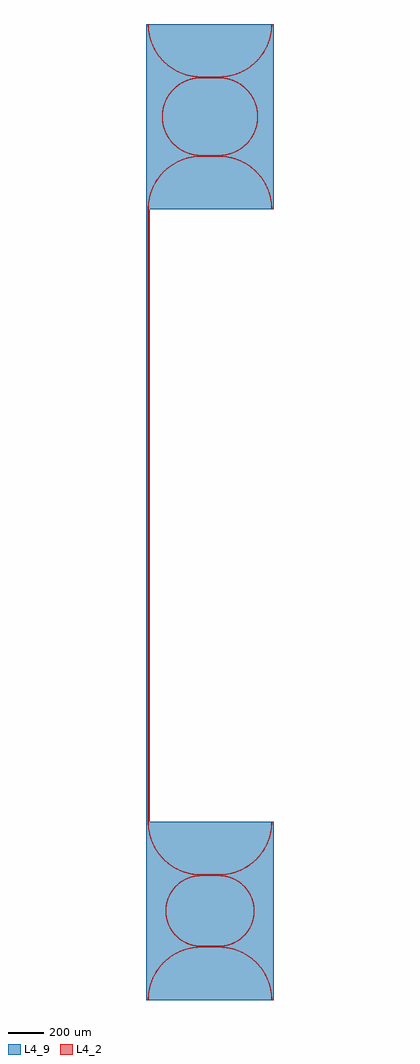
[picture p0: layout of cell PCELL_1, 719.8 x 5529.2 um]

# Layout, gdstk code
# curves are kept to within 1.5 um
from math import pi, radians
import gdstk
lib = gdstk.Library(unit=1e-6, precision=5e-09)
def R(c, l, rs):  # rectangles x0, y0, x1, y1
    for r in rs: c.add(gdstk.rectangle(r[:2], r[2:], *l))
def P(c, l, *ps):  # polygons
    for p in ps: c.add(gdstk.Polygon(p, *l))
L4_2 = (4, 2)
L4_9 = (4, 9)

my_rectsymm180dropring1_ = lib.new_cell('my_rectsymm180dropring1_0_coupler_1_wg1a')
P(my_rectsymm180dropring1_, L4_2, [(-348.1,-302.3),(-347.69,-286.7),(-346.465,-271.14),(-344.43,-255.665),(-341.585,-240.32),(-337.94,-225.145),(-333.51,-210.18),(-328.3,-195.47),(-322.33,-181.05),(-315.61,-166.965),(-308.16,-153.25),(-300.01,-139.945),(-291.17,-127.08),(-281.665,-114.7),(-271.53,-102.83),(-260.79,-91.51),(-245.57,-77.32),(-233.53,-67.395),(-220.985,-58.11),(-207.97,-49.495),(-194.52,-41.575),(-180.68,-34.37),(-166.475,-27.9),(-151.955,-22.18),(-137.155,-17.225),(-111.98,-10.715),(-86.33,-6.42),(-70.795,-4.925),(-55.205,-4.245),(0,-4.2),(0,-0.4),(-55.27,-0.445),(-76.31,-1.55),(-92.015,-3.34),(-107.605,-5.945),(-123.035,-9.37),(-138.265,-13.59),(-153.255,-18.605),(-167.96,-24.4),(-182.345,-30.955),(-196.365,-38.25),(-209.985,-46.275),(-223.165,-55),(-235.87,-64.4),(-248.065,-74.455),(-259.715,-85.13),(-270.795,-96.405),(-281.27,-108.24),(-291.11,-120.61),(-303.195,-137.875),(-311.455,-151.35),(-318.995,-165.24),(-325.8,-179.505),(-331.85,-194.11),(-338.71,-214.035),(-344.16,-234.385),(-347.315,-249.875),(-350.75,-275.99),(-351.855,-297.03),(-351.9,-302.3)])
R(my_rectsymm180dropring1_, L4_9, [(-359.9,-302.3,-50,7.6)])
P(my_rectsymm180dropring1_, L4_9, [(-340.1,-302.3),(-338.51,-271.975),(-333.76,-241.985),(-325.9,-212.655),(-315.02,-184.305),(-301.235,-157.25),(-284.695,-131.785),(-265.585,-108.185),(-244.115,-86.715),(-203.73,-56.28),(-153.96,-31.47),(-120.18,-20.82),(-85.355,-14.365),(0,-12.2),(0,7.6),(-82.395,5.905),(-140.605,-5.94),(-171.09,-17.035),(-200.245,-31.255),(-232.155,-51.585),(-257.365,-72),(-283.885,-98.985),(-306.92,-129.005),(-326.125,-161.61),(-341.21,-196.31),(-355.19,-248.485),(-359.9,-302.3)])

c_my_rectsymm180dropring1_ = lib.new_cell('my_rectsymm180dropring1_0_coupler_1_wg1b')
P(c_my_rectsymm180dropring1_, L4_2, [(0,-4.2),(55.145,-4.245),(75.695,-5.31),(101.2,-8.63),(116.335,-11.675),(131.29,-15.495),(146.025,-20.09),(165.265,-27.385),(179.34,-33.72),(193.07,-40.775),(206.415,-48.53),(219.34,-56.97),(231.81,-66.065),(243.795,-75.79),(255.26,-86.125),(266.175,-97.04),(276.51,-108.505),(286.235,-120.49),(295.33,-132.96),(303.77,-145.885),(311.525,-159.23),(318.58,-172.96),(328.73,-196.59),(333.825,-211.16),(338.165,-225.975),(342.74,-246.035),(345.925,-266.37),(347.39,-281.735),(348.1,-302.3),(351.9,-302.3),(351.495,-286.675),(349.7,-265.91),(347.415,-250.445),(344.33,-235.12),(340.46,-219.975),(335.81,-205.05),(330.39,-190.39),(324.225,-176.025),(314.86,-157.405),(307.005,-143.89),(298.46,-130.8),(289.25,-118.17),(279.395,-106.035),(268.93,-94.425),(257.875,-83.37),(246.265,-72.905),(234.13,-63.05),(221.5,-53.84),(208.41,-45.295),(194.895,-37.44),(180.99,-30.295),(166.735,-23.88),(147.25,-16.49),(132.325,-11.84),(117.18,-7.97),(101.855,-4.885),(86.39,-2.6),(65.625,-0.805),(0,-0.4)])
R(c_my_rectsymm180dropring1_, L4_9, [(50,-302.3,359.9,7.6)])
P(c_my_rectsymm180dropring1_, L4_9, [(0,-12.2),(70.015,-12.89),(124.275,-21.87),(152.87,-31.05),(180.36,-43.14),(206.455,-58.005),(230.875,-75.49),(270.43,-113.705),(302.065,-158.7),(317.535,-190.13),(330.43,-228.025),(337.34,-262.365),(340.1,-302.3),(359.9,-302.3),(358.24,-270.26),(352.13,-233.34),(341.615,-197.425),(329.21,-167.84),(313.815,-139.695),(292.29,-109.08),(271.015,-85.065),(243.22,-60.01),(212.605,-38.485),(179.62,-20.81),(144.745,-7.24),(108.49,2.03),(66.04,7.185),(0,7.6)])

c_my_rectsymm180dropring1__ = lib.new_cell('my_rectsymm180dropring1_0_coupler_1')
c_my_rectsymm180dropring1__.add(gdstk.Reference(my_rectsymm180dropring1_, (0,0)))
c_my_rectsymm180dropring1__.add(gdstk.Reference(c_my_rectsymm180dropring1_, (0,0)))

c_my_rectsymm180dropring1___ = lib.new_cell('my_rectsymm180dropring1_0_coupler_2_wg1a')
P(c_my_rectsymm180dropring1___, L4_2, [(-348.1,-302.3),(-347.69,-286.7),(-346.465,-271.14),(-344.43,-255.665),(-341.585,-240.32),(-337.94,-225.145),(-333.51,-210.18),(-328.3,-195.47),(-322.33,-181.05),(-315.61,-166.965),(-308.16,-153.25),(-300.01,-139.945),(-291.17,-127.08),(-281.665,-114.7),(-271.53,-102.83),(-260.79,-91.51),(-245.57,-77.32),(-233.53,-67.395),(-220.985,-58.11),(-207.97,-49.495),(-194.52,-41.575),(-180.68,-34.37),(-166.475,-27.9),(-151.955,-22.18),(-137.155,-17.225),(-111.98,-10.715),(-86.33,-6.42),(-70.795,-4.925),(-55.205,-4.245),(0,-4.2),(0,-0.4),(-55.27,-0.445),(-76.31,-1.55),(-92.015,-3.34),(-107.605,-5.945),(-123.035,-9.37),(-138.265,-13.59),(-153.255,-18.605),(-167.96,-24.4),(-182.345,-30.955),(-196.365,-38.25),(-209.985,-46.275),(-223.165,-55),(-235.87,-64.4),(-248.065,-74.455),(-259.715,-85.13),(-270.795,-96.405),(-281.27,-108.24),(-291.11,-120.61),(-303.195,-137.875),(-311.455,-151.35),(-318.995,-165.24),(-325.8,-179.505),(-331.85,-194.11),(-338.71,-214.035),(-344.16,-234.385),(-347.315,-249.875),(-350.75,-275.99),(-351.855,-297.03),(-351.9,-302.3)])
R(c_my_rectsymm180dropring1___, L4_9, [(-359.9,-302.3,-50,7.6)])
P(c_my_rectsymm180dropring1___, L4_9, [(-340.1,-302.3),(-338.51,-271.975),(-333.76,-241.985),(-325.9,-212.655),(-315.02,-184.305),(-301.235,-157.25),(-284.695,-131.785),(-265.585,-108.185),(-244.115,-86.715),(-203.73,-56.28),(-153.96,-31.47),(-120.18,-20.82),(-85.355,-14.365),(0,-12.2),(0,7.6),(-82.395,5.905),(-140.605,-5.94),(-171.09,-17.035),(-200.245,-31.255),(-232.155,-51.585),(-257.365,-72),(-283.885,-98.985),(-306.92,-129.005),(-326.125,-161.61),(-341.21,-196.31),(-355.19,-248.485),(-359.9,-302.3)])

c_my_rectsymm180dropring1____ = lib.new_cell('my_rectsymm180dropring1_0_coupler_2_wg1b')
P(c_my_rectsymm180dropring1____, L4_2, [(0,-4.2),(55.145,-4.245),(75.695,-5.31),(101.2,-8.63),(116.335,-11.675),(131.29,-15.495),(146.025,-20.09),(165.265,-27.385),(179.34,-33.72),(193.07,-40.775),(206.415,-48.53),(219.34,-56.97),(231.81,-66.065),(243.795,-75.79),(255.26,-86.125),(266.175,-97.04),(276.51,-108.505),(286.235,-120.49),(295.33,-132.96),(303.77,-145.885),(311.525,-159.23),(318.58,-172.96),(328.73,-196.59),(333.825,-211.16),(338.165,-225.975),(342.74,-246.035),(345.925,-266.37),(347.39,-281.735),(348.1,-302.3),(351.9,-302.3),(351.495,-286.675),(349.7,-265.91),(347.415,-250.445),(344.33,-235.12),(340.46,-219.975),(335.81,-205.05),(330.39,-190.39),(324.225,-176.025),(314.86,-157.405),(307.005,-143.89),(298.46,-130.8),(289.25,-118.17),(279.395,-106.035),(268.93,-94.425),(257.875,-83.37),(246.265,-72.905),(234.13,-63.05),(221.5,-53.84),(208.41,-45.295),(194.895,-37.44),(180.99,-30.295),(166.735,-23.88),(147.25,-16.49),(132.325,-11.84),(117.18,-7.97),(101.855,-4.885),(86.39,-2.6),(65.625,-0.805),(0,-0.4)])
R(c_my_rectsymm180dropring1____, L4_9, [(50,-302.3,359.9,7.6)])
P(c_my_rectsymm180dropring1____, L4_9, [(0,-12.2),(70.015,-12.89),(124.275,-21.87),(152.87,-31.05),(180.36,-43.14),(206.455,-58.005),(230.875,-75.49),(270.43,-113.705),(302.065,-158.7),(317.535,-190.13),(330.43,-228.025),(337.34,-262.365),(340.1,-302.3),(359.9,-302.3),(358.24,-270.26),(352.13,-233.34),(341.615,-197.425),(329.21,-167.84),(313.815,-139.695),(292.29,-109.08),(271.015,-85.065),(243.22,-60.01),(212.605,-38.485),(179.62,-20.81),(144.745,-7.24),(108.49,2.03),(66.04,7.185),(0,7.6)])

c_my_rectsymm180dropring1_____ = lib.new_cell('my_rectsymm180dropring1_0_coupler_2')
c_my_rectsymm180dropring1_____.add(gdstk.Reference(c_my_rectsymm180dropring1___, (0,0)))
c_my_rectsymm180dropring1_____.add(gdstk.Reference(c_my_rectsymm180dropring1____, (0,0)))

c_my_rectsymm180dropring1______ = lib.new_cell('my_rectsymm180dropring1_0_ring')
P(c_my_rectsymm180dropring1______, L4_2, [(0,-201.9),(60.45,-201.63),(77.79,-199.98),(98.32,-196.035),(121.595,-188.78),(140.73,-180.365),(158.89,-170.02),(175.885,-157.85),(191.525,-143.99),(207.85,-125.885),(221.875,-105.94),(231.905,-87.6),(241.14,-65.035),(246.84,-44.925),(250.82,-20.875),(251.9,0),(248.1,0),(247.63,-13.665),(246.215,-27.27),(243.865,-40.74),(240.595,-54.02),(233.985,-73.435),(226.97,-89.02),(216.82,-106.84),(204.88,-123.515),(191.28,-138.865),(173.515,-154.88),(156.84,-166.82),(139.02,-176.97),(120.245,-185.225),(100.72,-191.495),(80.65,-195.715),(63.665,-197.63),(0,-198.1)])
R(c_my_rectsymm180dropring1______, L4_9, [(50,-209.9,259.9,0)])
P(c_my_rectsymm180dropring1______, L4_9, [(0,-209.9),(64.48,-209.4),(100.23,-203.8),(144.325,-187.515),(180.87,-164.105),(214.105,-130.87),(239.115,-91.07),(254.64,-46.705),(259.9,0),(240.1,0),(235.335,-42.3),(221.275,-82.48),(198.625,-118.525),(168.525,-148.625),(132.48,-171.275),(95.495,-184.575),(59.84,-189.845),(0,-190.1)])

c_my_rectsymm180dropring1_______ = lib.new_cell('my_rectsymm180dropring1_0')
R(c_my_rectsymm180dropring1_______, L4_9, [(-359.9,-504.6,359.9,504.6)])
c_my_rectsymm180dropring1_______.add(gdstk.Reference(c_my_rectsymm180dropring1__, (0,-202.3)))
c_my_rectsymm180dropring1_______.add(gdstk.Reference(c_my_rectsymm180dropring1_____, (0,202.3), rotation=pi))
c_my_rectsymm180dropring1_______.add(gdstk.Reference(c_my_rectsymm180dropring1______, (0,0)))
c_my_rectsymm180dropring1_______.add(gdstk.Reference(c_my_rectsymm180dropring1______, (0,0), x_reflection=True))
c_my_rectsymm180dropring1_______.add(gdstk.Reference(c_my_rectsymm180dropring1______, (0,0), rotation=pi))
c_my_rectsymm180dropring1_______.add(gdstk.Reference(c_my_rectsymm180dropring1______, (0,0), rotation=pi, x_reflection=True))

my_rectsymm180dropring21 = lib.new_cell('my_rectsymm180dropring21_0_coupler_1_wg1a')
P(my_rectsymm180dropring21, L4_2, [(-348.1,-302.3),(-347.69,-286.7),(-346.465,-271.14),(-344.43,-255.665),(-341.585,-240.32),(-337.94,-225.145),(-333.51,-210.18),(-328.3,-195.47),(-322.33,-181.05),(-315.61,-166.965),(-308.16,-153.25),(-300.01,-139.945),(-291.17,-127.08),(-281.665,-114.7),(-271.53,-102.83),(-260.79,-91.51),(-245.57,-77.32),(-233.53,-67.395),(-220.985,-58.11),(-207.97,-49.495),(-194.52,-41.575),(-180.68,-34.37),(-166.475,-27.9),(-151.955,-22.18),(-137.155,-17.225),(-111.98,-10.715),(-86.33,-6.42),(-70.795,-4.925),(-55.205,-4.245),(0,-4.2),(0,-0.4),(-55.27,-0.445),(-76.31,-1.55),(-92.015,-3.34),(-107.605,-5.945),(-123.035,-9.37),(-138.265,-13.59),(-153.255,-18.605),(-167.96,-24.4),(-182.345,-30.955),(-196.365,-38.25),(-209.985,-46.275),(-223.165,-55),(-235.87,-64.4),(-248.065,-74.455),(-259.715,-85.13),(-270.795,-96.405),(-281.27,-108.24),(-291.11,-120.61),(-303.195,-137.875),(-311.455,-151.35),(-318.995,-165.24),(-325.8,-179.505),(-331.85,-194.11),(-338.71,-214.035),(-344.16,-234.385),(-347.315,-249.875),(-350.75,-275.99),(-351.855,-297.03),(-351.9,-302.3)])
R(my_rectsymm180dropring21, L4_9, [(-359.9,-302.3,-50,7.6)])
P(my_rectsymm180dropring21, L4_9, [(-340.1,-302.3),(-338.51,-271.975),(-333.76,-241.985),(-325.9,-212.655),(-315.02,-184.305),(-301.235,-157.25),(-284.695,-131.785),(-265.585,-108.185),(-244.115,-86.715),(-203.73,-56.28),(-153.96,-31.47),(-120.18,-20.82),(-85.355,-14.365),(0,-12.2),(0,7.6),(-82.395,5.905),(-140.605,-5.94),(-171.09,-17.035),(-200.245,-31.255),(-232.155,-51.585),(-257.365,-72),(-283.885,-98.985),(-306.92,-129.005),(-326.125,-161.61),(-341.21,-196.31),(-355.19,-248.485),(-359.9,-302.3)])

c_my_rectsymm180dropring21 = lib.new_cell('my_rectsymm180dropring21_0_coupler_1_wg1b')
P(c_my_rectsymm180dropring21, L4_2, [(0,-4.2),(55.145,-4.245),(75.695,-5.31),(101.2,-8.63),(116.335,-11.675),(131.29,-15.495),(146.025,-20.09),(165.265,-27.385),(179.34,-33.72),(193.07,-40.775),(206.415,-48.53),(219.34,-56.97),(231.81,-66.065),(243.795,-75.79),(255.26,-86.125),(266.175,-97.04),(276.51,-108.505),(286.235,-120.49),(295.33,-132.96),(303.77,-145.885),(311.525,-159.23),(318.58,-172.96),(328.73,-196.59),(333.825,-211.16),(338.165,-225.975),(342.74,-246.035),(345.925,-266.37),(347.39,-281.735),(348.1,-302.3),(351.9,-302.3),(351.495,-286.675),(349.7,-265.91),(347.415,-250.445),(344.33,-235.12),(340.46,-219.975),(335.81,-205.05),(330.39,-190.39),(324.225,-176.025),(314.86,-157.405),(307.005,-143.89),(298.46,-130.8),(289.25,-118.17),(279.395,-106.035),(268.93,-94.425),(257.875,-83.37),(246.265,-72.905),(234.13,-63.05),(221.5,-53.84),(208.41,-45.295),(194.895,-37.44),(180.99,-30.295),(166.735,-23.88),(147.25,-16.49),(132.325,-11.84),(117.18,-7.97),(101.855,-4.885),(86.39,-2.6),(65.625,-0.805),(0,-0.4)])
R(c_my_rectsymm180dropring21, L4_9, [(50,-302.3,359.9,7.6)])
P(c_my_rectsymm180dropring21, L4_9, [(0,-12.2),(70.015,-12.89),(124.275,-21.87),(152.87,-31.05),(180.36,-43.14),(206.455,-58.005),(230.875,-75.49),(270.43,-113.705),(302.065,-158.7),(317.535,-190.13),(330.43,-228.025),(337.34,-262.365),(340.1,-302.3),(359.9,-302.3),(358.24,-270.26),(352.13,-233.34),(341.615,-197.425),(329.21,-167.84),(313.815,-139.695),(292.29,-109.08),(271.015,-85.065),(243.22,-60.01),(212.605,-38.485),(179.62,-20.81),(144.745,-7.24),(108.49,2.03),(66.04,7.185),(0,7.6)])

c_my_rectsymm180dropring21_ = lib.new_cell('my_rectsymm180dropring21_0_coupler_1')
c_my_rectsymm180dropring21_.add(gdstk.Reference(my_rectsymm180dropring21, (0,0)))
c_my_rectsymm180dropring21_.add(gdstk.Reference(c_my_rectsymm180dropring21, (0,0)))

c_my_rectsymm180dropring21__ = lib.new_cell('my_rectsymm180dropring21_0_coupler_2_wg1a')
P(c_my_rectsymm180dropring21__, L4_2, [(-348.1,-302.3),(-347.69,-286.7),(-346.465,-271.14),(-344.43,-255.665),(-341.585,-240.32),(-337.94,-225.145),(-333.51,-210.18),(-328.3,-195.47),(-322.33,-181.05),(-315.61,-166.965),(-308.16,-153.25),(-300.01,-139.945),(-291.17,-127.08),(-281.665,-114.7),(-271.53,-102.83),(-260.79,-91.51),(-245.57,-77.32),(-233.53,-67.395),(-220.985,-58.11),(-207.97,-49.495),(-194.52,-41.575),(-180.68,-34.37),(-166.475,-27.9),(-151.955,-22.18),(-137.155,-17.225),(-111.98,-10.715),(-86.33,-6.42),(-70.795,-4.925),(-55.205,-4.245),(0,-4.2),(0,-0.4),(-55.27,-0.445),(-76.31,-1.55),(-92.015,-3.34),(-107.605,-5.945),(-123.035,-9.37),(-138.265,-13.59),(-153.255,-18.605),(-167.96,-24.4),(-182.345,-30.955),(-196.365,-38.25),(-209.985,-46.275),(-223.165,-55),(-235.87,-64.4),(-248.065,-74.455),(-259.715,-85.13),(-270.795,-96.405),(-281.27,-108.24),(-291.11,-120.61),(-303.195,-137.875),(-311.455,-151.35),(-318.995,-165.24),(-325.8,-179.505),(-331.85,-194.11),(-338.71,-214.035),(-344.16,-234.385),(-347.315,-249.875),(-350.75,-275.99),(-351.855,-297.03),(-351.9,-302.3)])
R(c_my_rectsymm180dropring21__, L4_9, [(-359.9,-302.3,-50,7.6)])
P(c_my_rectsymm180dropring21__, L4_9, [(-340.1,-302.3),(-338.51,-271.975),(-333.76,-241.985),(-325.9,-212.655),(-315.02,-184.305),(-301.235,-157.25),(-284.695,-131.785),(-265.585,-108.185),(-244.115,-86.715),(-203.73,-56.28),(-153.96,-31.47),(-120.18,-20.82),(-85.355,-14.365),(0,-12.2),(0,7.6),(-82.395,5.905),(-140.605,-5.94),(-171.09,-17.035),(-200.245,-31.255),(-232.155,-51.585),(-257.365,-72),(-283.885,-98.985),(-306.92,-129.005),(-326.125,-161.61),(-341.21,-196.31),(-355.19,-248.485),(-359.9,-302.3)])

c_my_rectsymm180dropring21___ = lib.new_cell('my_rectsymm180dropring21_0_coupler_2_wg1b')
P(c_my_rectsymm180dropring21___, L4_2, [(0,-4.2),(55.145,-4.245),(75.695,-5.31),(101.2,-8.63),(116.335,-11.675),(131.29,-15.495),(146.025,-20.09),(165.265,-27.385),(179.34,-33.72),(193.07,-40.775),(206.415,-48.53),(219.34,-56.97),(231.81,-66.065),(243.795,-75.79),(255.26,-86.125),(266.175,-97.04),(276.51,-108.505),(286.235,-120.49),(295.33,-132.96),(303.77,-145.885),(311.525,-159.23),(318.58,-172.96),(328.73,-196.59),(333.825,-211.16),(338.165,-225.975),(342.74,-246.035),(345.925,-266.37),(347.39,-281.735),(348.1,-302.3),(351.9,-302.3),(351.495,-286.675),(349.7,-265.91),(347.415,-250.445),(344.33,-235.12),(340.46,-219.975),(335.81,-205.05),(330.39,-190.39),(324.225,-176.025),(314.86,-157.405),(307.005,-143.89),(298.46,-130.8),(289.25,-118.17),(279.395,-106.035),(268.93,-94.425),(257.875,-83.37),(246.265,-72.905),(234.13,-63.05),(221.5,-53.84),(208.41,-45.295),(194.895,-37.44),(180.99,-30.295),(166.735,-23.88),(147.25,-16.49),(132.325,-11.84),(117.18,-7.97),(101.855,-4.885),(86.39,-2.6),(65.625,-0.805),(0,-0.4)])
R(c_my_rectsymm180dropring21___, L4_9, [(50,-302.3,359.9,7.6)])
P(c_my_rectsymm180dropring21___, L4_9, [(0,-12.2),(70.015,-12.89),(124.275,-21.87),(152.87,-31.05),(180.36,-43.14),(206.455,-58.005),(230.875,-75.49),(270.43,-113.705),(302.065,-158.7),(317.535,-190.13),(330.43,-228.025),(337.34,-262.365),(340.1,-302.3),(359.9,-302.3),(358.24,-270.26),(352.13,-233.34),(341.615,-197.425),(329.21,-167.84),(313.815,-139.695),(292.29,-109.08),(271.015,-85.065),(243.22,-60.01),(212.605,-38.485),(179.62,-20.81),(144.745,-7.24),(108.49,2.03),(66.04,7.185),(0,7.6)])

c_my_rectsymm180dropring21____ = lib.new_cell('my_rectsymm180dropring21_0_coupler_2')
c_my_rectsymm180dropring21____.add(gdstk.Reference(c_my_rectsymm180dropring21__, (0,0)))
c_my_rectsymm180dropring21____.add(gdstk.Reference(c_my_rectsymm180dropring21___, (0,0)))

c_my_rectsymm180dropring21_____ = lib.new_cell('my_rectsymm180dropring21_0_ring')
P(c_my_rectsymm180dropring21_____, L4_2, [(0,-221.9),(50.01,-221.9),(65.31,-221.37),(84.335,-219.23),(106.815,-214.505),(128.685,-207.48),(149.715,-198.235),(163.155,-190.88),(172.885,-184.77),(191.325,-171.075),(208.255,-155.545),(223.49,-138.35),(232.62,-126.055),(238.9,-116.43),(249.925,-96.28),(254.64,-85.8),(260.075,-71.48),(266.335,-49.375),(269.23,-34.335),(270.71,-22.94),(271.9,0),(268.1,0),(267.58,-15.045),(266.025,-30.02),(263.44,-44.855),(259.835,-59.475),(252.56,-80.85),(244.84,-98.01),(233.66,-117.625),(220.515,-135.985),(205.545,-152.885),(188.905,-168.145),(170.78,-181.605),(151.355,-193.12),(130.85,-202.56),(109.475,-209.835),(87.46,-214.86),(65.045,-217.58),(49.99,-218.1),(0,-218.1)])
R(c_my_rectsymm180dropring21_____, L4_9, [(50,-229.9,279.9,0)])
P(c_my_rectsymm180dropring21_____, L4_9, [(0,-229.9),(65.86,-229.355),(108.865,-222.235),(153.31,-205.38),(196.42,-177.24),(229.745,-143.34),(257.135,-99.75),(274.135,-51.16),(279.9,0),(260.1,0),(255.61,-43.21),(240.84,-87.88),(216.5,-128.14),(183.81,-161.975),(147.64,-186.035),(103.795,-203.095),(64.495,-209.6),(0,-210.1)])

c_my_rectsymm180dropring21______ = lib.new_cell('my_rectsymm180dropring21_0')
R(c_my_rectsymm180dropring21______, L4_9, [(-359.9,-524.6,359.9,524.6)])
c_my_rectsymm180dropring21______.add(gdstk.Reference(c_my_rectsymm180dropring21_, (0,-222.3)))
c_my_rectsymm180dropring21______.add(gdstk.Reference(c_my_rectsymm180dropring21____, (0,222.3), rotation=pi))
c_my_rectsymm180dropring21______.add(gdstk.Reference(c_my_rectsymm180dropring21_____, (0,0)))
c_my_rectsymm180dropring21______.add(gdstk.Reference(c_my_rectsymm180dropring21_____, (0,0), x_reflection=True))
c_my_rectsymm180dropring21______.add(gdstk.Reference(c_my_rectsymm180dropring21_____, (0,0), rotation=pi))
c_my_rectsymm180dropring21______.add(gdstk.Reference(c_my_rectsymm180dropring21_____, (0,0), rotation=pi, x_reflection=True))

pcell_1_link1 = lib.new_cell('PCELL_1_link1')
R(pcell_1_link1, L4_2, [(-351.9,-1495.4,-348.1,1975.4)])
P(pcell_1_link1, L4_9, [(-359.9,1975.4),(-359.9,-1495.4),(-351.9,-1495.4),(-348.1,-1495.4),(-340.1,-1495.4),(-340.1,1975.4),(-348.1,1975.4),(-351.9,1975.4)])

pcell_1 = lib.new_cell('PCELL_1')
pcell_1.add(gdstk.Reference(c_my_rectsymm180dropring1_______, (0,-2000)))
pcell_1.add(gdstk.Reference(c_my_rectsymm180dropring21______, (0,2500)))
pcell_1.add(gdstk.Reference(pcell_1_link1, (0,0)))

lib.write_gds('PCELL_1.gds')
